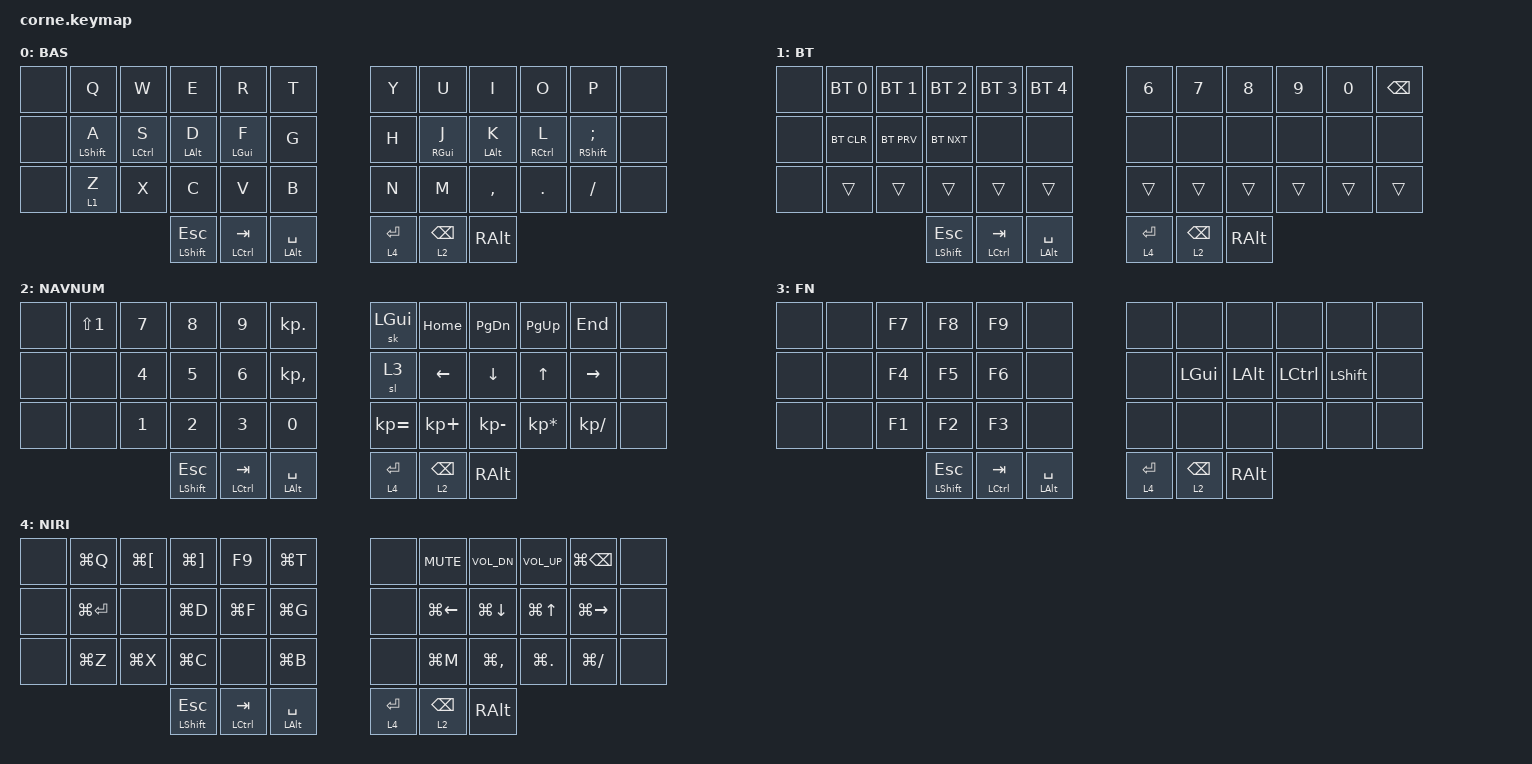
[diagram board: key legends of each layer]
/*
 * Copyright (c) 2020 The ZMK Contributors
 *
 * SPDX-License-Identifier: MIT
 */

#include <behaviors.dtsi>
#include <dt-bindings/zmk/keys.h>
#include <dt-bindings/zmk/bt.h>

&caps_word {
  continue-list = <Q W E R T  Y U I   P
                   A S D F G  H J K L SEMI
                   Z X   V B    M COMMA FSLH>;
};

&mt {
  tapping-term-ms = <200>;
  flavor = "balanced";
};
&lt {
  tapping-term-ms = <200>;
  flavor = "balanced";
  quick-tap-ms = <150>;
};

/ {
        combos {
                compatible = "zmk,combos";
                combo_esc {
                  timeout-ms = <100>;
                  key-positions = <20 21>;
                  bindings = <&kp ESC>;
                  layers = <0 2>;
                };
                combo_paste {
                  timeout-ms = <100>;
                  key-positions = <4 5>;
                  bindings = <&kp K_PASTE>;
                  layers = <0>;
                };
                combo_capsword {
                  timeout-ms = <100>;
                  key-positions = <13 22>;
                  bindings = <&caps_word>;
                  layers = <0>;
                };
  };
        keymap {
                compatible = "zmk,keymap";

                default_layer {
                        display-name = "BAS";
// -----------------------------------------------------------------------------------------
// |      |  Q  |  W  |  E  |  R  |  T  |   |  Y  |  U   |  I  |  O  |  P  |      |
// |      |  A  |  S  |  D  |  F  |  G  |   |  H  |  J   |  K  |  L  |  ;  |      |
// |      |  Z  |  X  |  C  |  V  |  B  |   |  N  |  M   |  ,  |  .  |  /  |      |
//                    | GUI | LWR | SPC |   | ENT | RSE  | ALT |
                        bindings = <
   &none &kp Q        &kp W       &kp E      &kp R      &kp T   &kp Y &kp U       &kp I      &kp O       &kp P           &none
   &none &mt LSHIFT A &mt LCTRL S &mt LALT D &mt LGUI F &kp G   &kp H &mt RGUI J  &mt LALT K &mt RCTRL L &mt RSHIFT SEMI &none
   &none &lt 1 Z      &kp X       &kp C      &kp V      &kp B   &kp N &kp M       &kp COMMA  &kp DOT     &kp FSLH        &none
                &mt LSHIFT ESC  &mt LCTRL TAB  &mt LALT SPACE  &lt 4 RET &lt 2 BSPC &kp RALT
                        >;
                };
                bluetooth_layer {
                        display-name = "BT";
// -----------------------------------------------------------------------------------------
// |   |  1    |  2  |  3  |  4  |  5  |   |  6  |  7  |  8  |  9  |  0  | BSPC |
// |   | BTCLR | BT1 | BT2 | BT3 | BT4 |   | LFT | DWN |  UP | RGT |     |      |
// |   |       |     |     |     |     |   |     |     |     |     |     |      |
//                    | GUI |     | SPC |   | ENT |     | ALT |
                        bindings = <
   &none &bt BT_SEL 0 &bt BT_SEL 1 &bt BT_SEL 2 &bt BT_SEL 3 &bt BT_SEL 4         &kp N6   &kp N7   &kp N8 &kp N9    &kp N0 &kp BSPC
   &none &bt BT_CLR   &bt BT_PRV   &bt BT_NXT   &none        &none                &none    &none    &none  &none     &none  &none
   &none &trans       &trans       &trans       &trans       &trans               &trans   &trans   &trans &trans    &trans &trans
                &mt LSHIFT ESC  &mt LCTRL TAB  &mt LALT SPACE  &lt 4 RET &lt 2 BSPC &kp RALT
                        >;
                };

                navnum_layer {
                        display-name = "NAVNUM";
// -----------------------------------------------------------------------------------------
// |  |  €  |  7  |  8  |  9  |  .  |   |  skGUI  |  HOME  |  PGDN  | PGUP |   END   |      |
// |  |     |  4  |  5  |  6  |  ,  |   |   FN    |  LEFT  |  DOWN  |  UP  |  RIGHT  |      |
// |  |     |  1  |  2  |  3  |  0  |   |  =      |   +    |   -    |   *  |   /     |      |
//                | GUI |     | SPC |   | ENT |     | ALT |
                        bindings = <
   &none &kp LS(N1) &kp N7 &kp N8 &kp N9 &kp KP_DOT     &sk LGUI     &kp HOME    &kp PG_DN    &kp PG_UP       &kp END       &none
   &none &none      &kp N4 &kp N5 &kp N6 &kp KP_COMMA   &sl 3        &kp LEFT    &kp DOWN     &kp UP          &kp RIGHT     &none
   &none &none      &kp N1 &kp N2 &kp N3 &kp N0         &kp KP_EQUAL &kp KP_PLUS &kp KP_MINUS &kp KP_ASTERISK &kp KP_DIVIDE &none
                &mt LSHIFT ESC  &mt LCTRL TAB  &mt LALT SPACE  &lt 4 RET &lt 2 BSPC &kp RALT
                        >;
                };
                fn_layer {
                        display-name = "FN";
// -----------------------------------------------------------------------------------------
// |  |     |  F7  |  F8  |  F9  |  |   |  |       |       |      |       |      |
// |  |     |  F4  |  F5  |  F6  |  |   |  |  GUI  |  ALT  |  CTL |  SFT  |      |
// |  |     |  F1  |  F2  |  F3  |  |   |  |       |       |      |       |      |
//                | GUI |     | SPC |   | ENT |     | ALT |
                        bindings = <
   &none &none &kp F7 &kp F8 &kp F9 &none     &none &none    &none    &none     &none      &none
   &none &none &kp F4 &kp F5 &kp F6 &none     &none &kp LGUI &kp LALT &kp LCTRL &kp LSHIFT &none
   &none &none &kp F1 &kp F2 &kp F3 &none     &none &none    &none    &none     &none      &none
                &mt LSHIFT ESC  &mt LCTRL TAB  &mt LALT SPACE  &lt 4 RET &lt 2 BSPC &kp RALT
                        >;
                };
                wm_layer {
                        display-name = "NIRI";
// -----------------------------------------------------------------------------------------
// |  | QUIT |   DISL   |  DISR  |      | RWPR |   |  |  MUTE  | VOLD  | VOLU | CLSW  |      |
// |  | TERM |          |  LNCH  | CPTR | FULS |   |  |  FOCL  | FOCD  | FOCU | FOCR  |      |
// |  | RESZ |  TOGTAB  |  CNTR  |      | DISP |   |  |  CONS  | DCSZ  | INSZ | EXPL  |      |
//                | GUI |     | SPC |   | ENT |     | ALT |
                        bindings = <
   &none &kp LG(Q) &kp LG(LBKT) &kp LG(RBKT) &kp F9 &kp LG(T)     &none &kp C_MUTE    &kp C_VOL_DN    &kp C_VOL_UP     &kp LG(BSPC)      &none
   &none &kp LG(RET) &none &kp LG(D) &kp LG(F) &kp LG(G)    &none &kp LG(LEFT) &kp LG(DOWN) &kp LG(UP) &kp LG(RIGHT) &none
   &none &kp LG(Z) &kp LG(X) &kp LG(C) &none &kp LG(B)     &none &kp LG(M)    &kp LG(COMMA)    &kp LG(DOT)     &kp LG(FSLH)      &none
                &mt LSHIFT ESC  &mt LCTRL TAB  &mt LALT SPACE  &lt 4 RET &lt 2 BSPC &kp RALT
                        >;
                };

        };
};
